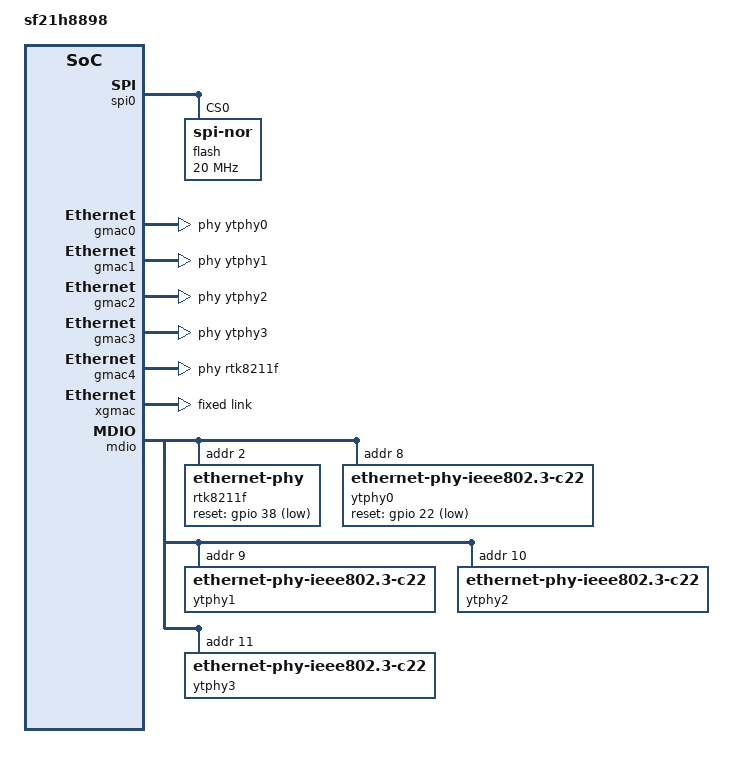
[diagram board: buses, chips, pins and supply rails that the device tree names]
// SPDX-License-Identifier: GPL-2.0

/dts-v1/;
#include "sf21h8898.dtsi"

/ {
	model = "sf21h8898";
	compatible = "siflower,sf21h8898";

	chosen {
		stdout-path = &uart1;
		tick-timer = &timer0;
	};

};

&uart1 {
	u-boot,dm-pre-reloc;
};

&watchdog {
	u-boot,dm-pre-reloc;
};

&timer0 {
	u-boot,dm-pre-reloc;
};

&spi0 {
	status = "okay";

	flash@0 {
		compatible = "jedec,spi-nor";
		reg = <0>;
		spi-max-frequency = <20000000>;
		spi-tx-bus-width = <4>;
		spi-rx-bus-width = <4>;
		#address-cells = <1>;
		#size-cells = <1>;
	};
};

&gmac0 {
	status = "okay";
	local-mac-address = [10 23 45 67 89 ab];
	phy-handle = <&ytphy0>;
};

&gmac1 {
	status = "okay";
	local-mac-address = [10 23 45 67 89 ab];
	phy-handle = <&ytphy1>;
};

&gmac2 {
	status = "okay";
	local-mac-address = [10 23 45 67 89 ab];
	phy-handle = <&ytphy2>;
};

&gmac3 {
	status = "okay";
	local-mac-address = [10 23 45 67 89 ab];
	phy-handle = <&ytphy3>;
};

&gmac4 {
	status = "okay";
	local-mac-address = [10 23 45 67 89 ab];
	tx-internal-delay-ps = <6762>;
	rx-internal-delay-ps = <1960>;
	phy-handle = <&rtk8211f>;
};

&xgmac {
	status = "okay";
	local-mac-address = [10 23 45 67 89 ab];

	fixed-link {
		speed = <10000>;
		full-duplex;
		pause;
	};
};

&mdio {
	rtk8211f: ethernet-phy@2 {
		reg = <0x2>;
		reset-gpios = <&gpio 38 GPIO_ACTIVE_LOW>;
		reset-assert-us = <10000>;
		reset-deassert-us = <100000>;
	};
	ytphy0: ethernet-phy@8 {
		compatible = "ethernet-phy-ieee802.3-c22";
		reg = <0x8>;
		reset-gpios = <&gpio 22 GPIO_ACTIVE_LOW>;
		reset-assert-us = <10000>;
		reset-deassert-us = <100000>;
	};

	ytphy1: ethernet-phy@9 {
		compatible = "ethernet-phy-ieee802.3-c22";
		reg = <0x9>;
	};

	ytphy2: ethernet-phy@a {
		compatible = "ethernet-phy-ieee802.3-c22";
		reg = <0xa>;
	};

	ytphy3: ethernet-phy@b {
		compatible = "ethernet-phy-ieee802.3-c22";
		reg = <0xb>;
	};
};

&xpcs0 {
	enable;
};

&xpcs1 {
	enable;
};
